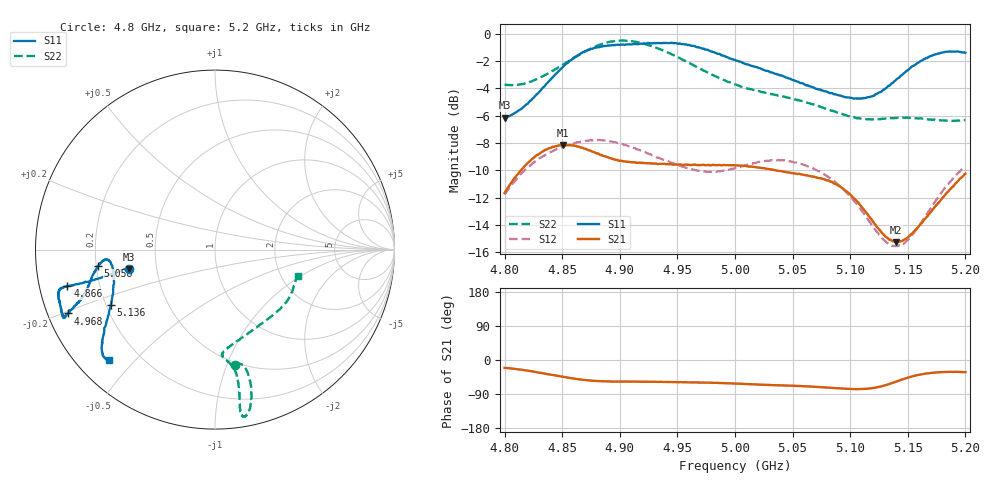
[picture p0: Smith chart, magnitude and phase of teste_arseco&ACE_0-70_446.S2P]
! Network Analyzer HP8722D
! Hewlett-Packard
! Data name: Linha & Wilkinson
! Saver's name: Rodrigo Anjos
! Comments: Teste da utilização de aquisição
! continua pelo VNA HP8722D
! Time and date: 8/5/2025 16:28
!  Frequency  S11  S21  S12  S22
# HZ  S  MA R 50
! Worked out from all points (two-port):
!   401 points, 4.8 GHz to 5.2 GHz, reference 50 ohm
!   highest |S21| = -8.14 dB at 4.851 GHz (marker M1); lowest = -15.2 dB at 5.14 GHz (marker M2)
!   |S21| within 3 dB of the highest: 4.804 GHz to 5.09 GHz (286.4 MHz wide, 5.79 % of centre); 5.189737 GHz to end of sweep
!   lowest |S11| = -6.1 dB at 4.8 GHz (marker M3), VSWR 2.95, Z = 17.2 - j4.87 ohm
!   |S11| at or under -10 dB: nowhere
!   |S22| runs from -6.4 to -0.5 dB; largest |S21 - S12| = 0.62
!   S11 on the Smith chart (normalised r, x): 4.8 GHz: 0.34, -0.10; 4.866 GHz: 0.08, -0.12; 4.968 GHz: 0.06, -0.21; 5.058 GHz: 0.21, -0.07; 5.136 GHz: 0.22, -0.24; 5.2 GHz: 0.09, -0.42
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4.8e9  0.4931 -167.4  0.2617 -20.8  0.258 -141.8  0.6513 -80.2
4.826e9  0.5887 -166.8  0.354 -31.2  0.3394 -145.9  0.6771 -75.9
4.851e9  0.7596 -165.8  0.3919 -44.7  0.3861 -150.5  0.7722 -75.2
4.866e9  0.8464 -166.2  0.3831 -51.4  0.4028 -152.8  0.843 -76.0
4.867e9  0.8505 -166.0  0.3831 -52.0  0.4036 -152.9  0.8485 -76.1
4.879e9  0.8915 -165.8  0.3662 -55.2  0.4077 -154.9  0.8975 -77.3
4.899e9  0.911 -163.0  0.3428 -57.1  0.3975 -157.3  0.9424 -79.7
4.915e9  0.9164 -159.7  0.3372 -57.2  0.3778 -157.6  0.9325 -81.0
4.934e9  0.9244 -156.8  0.334 -57.9  0.3517 -156.0  0.8809 -81.0
4.968e9  0.8938 -156.5  0.3311 -59.4  0.3155 -147.9  0.751 -80.0
5e9  0.8025 -159.5  0.3298 -62.2  0.3227 -137.7  0.6523 -81.7
5.033e9  0.7192 -165.5  0.318 -66.3  0.3441 -135.1  0.6003 -85.9
5.058e9  0.6598 -171.9  0.3058 -68.9  0.3334 -137.1  0.5677 -84.6
5.067e9  0.6389 -173.5  0.3009 -70.1  0.3234 -137.8  0.5524 -82.6
5.087e9  0.6006 -174.6  0.2823 -74.0  0.2868 -139.5  0.519 -74.4
5.103e9  0.5785 -170.9  0.2504 -76.9  0.2454 -139.2  0.4955 -64.5
5.134e9  0.6456 -153.1  0.1763 -63.3  0.1696 -118.8  0.4906 -42.8
5.136e9  0.6587 -152.0  0.1751 -61.2  0.1674 -116.3  0.491 -41.6
5.14e9  0.6791 -150.0  0.1731 -57.0  0.1671 -110.8  0.4914 -39.4
5.151e9  0.7412 -145.3  0.1814 -45.6  0.1777 -97.0  0.4935 -33.6
5.172e9  0.8359 -139.1  0.2282 -33.5  0.237 -81.2  0.4849 -24.5
5.2e9  0.8518 -133.8  0.3073 -32.0  0.3263 -77.6  0.4829 -17.6
